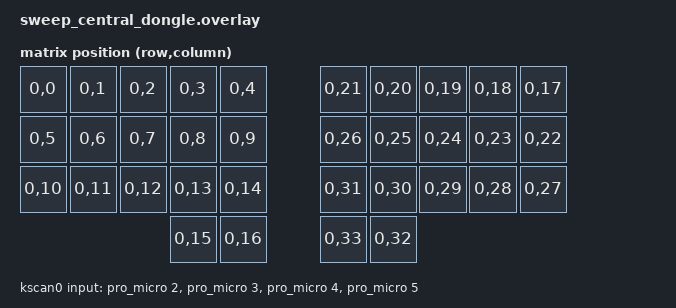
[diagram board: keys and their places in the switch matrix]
/*
 * Copyright (c) 2020 The ZMK Contributors
 *
 * SPDX-License-Identifier: MIT
 */
#include <dt-bindings/zmk/matrix_transform.h>

/ {
    chosen {
        zmk,kscan = &kscan0;
        zephyr,display = &oled;
        zmk,matrix-transform = &default_transform;
    };

    default_transform: keymap_transform_0 {
        compatible = "zmk,matrix-transform";
        columns = <34>;
        rows = <1>;
        map = <
        RC(0,0)  RC(0,1)  RC(0,2)  RC(0,3)  RC(0,4)    RC(0,21) RC(0,20) RC(0,19) RC(0,18) RC(0,17)
        RC(0,5)  RC(0,6)  RC(0,7)  RC(0,8)  RC(0,9)    RC(0,26) RC(0,25) RC(0,24) RC(0,23) RC(0,22)
        RC(0,10) RC(0,11) RC(0,12) RC(0,13) RC(0,14)   RC(0,31) RC(0,30) RC(0,29) RC(0,28) RC(0,27)
                                   RC(0,15) RC(0,16)   RC(0,33) RC(0,32)
        >;
    };
    
    kscan0: kscan {
        compatible = "zmk,kscan-gpio-direct";

        input-gpios
            = <&pro_micro 2 (GPIO_ACTIVE_LOW | GPIO_PULL_UP)>
            , <&pro_micro 3 (GPIO_ACTIVE_LOW | GPIO_PULL_UP)>
            , <&pro_micro 4 (GPIO_ACTIVE_LOW | GPIO_PULL_UP)>
            , <&pro_micro 5 (GPIO_ACTIVE_LOW | GPIO_PULL_UP)>
            ;
    };
    
};


&i2c0 {
    status = "okay";
 
    oled: sh1106@3c {
        compatible = "sinowealth,sh1106";
        reg = <0x3c>;
        width = <128>;
        height = <64>;
        segment-offset = <2>;
        page-offset = <0>;
        display-offset = <0>;
        multiplex-ratio = <63>;
        segment-remap;
        com-invdir;
        inversion-on;
        prechargep = <0x22>;
    };
}; 

&i2c0_default {
    group1 {
        psels = <NRF_PSEL(TWIM_SDA, 0, 29)>,
            <NRF_PSEL(TWIM_SCL, 0, 31)>;
    };
};

&i2c0_sleep {
    group1 {
        psels = <NRF_PSEL(TWIM_SDA, 0, 29)>,
            <NRF_PSEL(TWIM_SCL, 0, 31)>;
        low-power-enable;
    };
};

&i2c0 {
  pinctrl-0 = <&i2c0_default>;
  pinctrl-1 = <&i2c0_sleep>;
  pinctrl-names = "default", "sleep";
};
